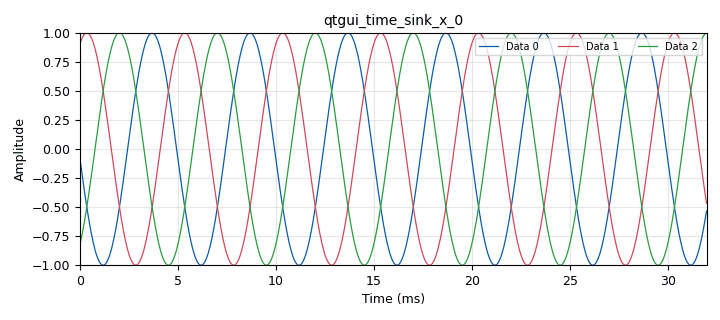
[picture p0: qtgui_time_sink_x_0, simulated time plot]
<?xml version='1.0' encoding='utf-8'?>
<?grc format='1' created='3.7.9'?>
<flow_graph>
<block>
<key>options</key>
<param><key>id</key><value>top_block</value></param>
<param><key>category</key><value>Custom</value></param>
<param><key>generate_options</key><value>qt_gui</value></param>
</block>
<block>
<key>variable_qtgui_range</key>
<param><key>id</key><value>f1</value></param>
<param><key>value</key><value>200</value></param>
<param><key>orient</key><value>Qt.Horizontal</value></param>
<param><key>start</key><value>0</value></param>
<param><key>step</key><value>100</value></param>
<param><key>stop</key><value>10000</value></param>
</block>
<block>
<key>variable</key>
<param><key>id</key><value>samp_rate</value></param>
<param><key>value</key><value>32000</value></param>
</block>
<block>
<key>variable_qtgui_chooser</key>
<param><key>id</key><value>sel1</value></param>
<param><key>value</key><value>0</value></param>
<param><key>label0</key><value>direct</value></param>
<param><key>num_opts</key><value>1</value></param>
<param><key>option0</key><value>0</value></param>
<param><key>type</key><value>int</value></param>
</block>
<block>
<key>analog_sig_source_x</key>
<param><key>id</key><value>analog_sig_source_x_0</value></param>
<param><key>amp</key><value>1</value></param>
<param><key>freq</key><value>f1</value></param>
<param><key>offset</key><value>0</value></param>
<param><key>type</key><value>float</value></param>
<param><key>samp_rate</key><value>samp_rate</value></param>
<param><key>waveform</key><value>analog.GR_COS_WAVE</value></param>
</block>
<block>
<key>analog_sig_source_x</key>
<param><key>id</key><value>analog_sig_source_x_0_0</value></param>
<param><key>amp</key><value>numpy.sin(2*numpy.pi/3)</value></param>
<param><key>freq</key><value>f1</value></param>
<param><key>offset</key><value>0</value></param>
<param><key>type</key><value>float</value></param>
<param><key>samp_rate</key><value>samp_rate</value></param>
<param><key>waveform</key><value>analog.GR_SIN_WAVE</value></param>
</block>
<block>
<key>analog_sig_source_x</key>
<param><key>id</key><value>analog_sig_source_x_0_0_0</value></param>
<param><key>amp</key><value>numpy.cos(2*numpy.pi/3)</value></param>
<param><key>freq</key><value>f1</value></param>
<param><key>offset</key><value>0</value></param>
<param><key>type</key><value>float</value></param>
<param><key>samp_rate</key><value>samp_rate</value></param>
<param><key>waveform</key><value>analog.GR_COS_WAVE</value></param>
</block>
<block>
<key>blocks_add_xx</key>
<param><key>id</key><value>blocks_add_xx_0</value></param>
<param><key>type</key><value>float</value></param>
</block>
<block>
<key>blocks_sub_xx</key>
<param><key>id</key><value>blocks_sub_xx_0</value></param>
<param><key>type</key><value>float</value></param>
</block>
<block>
<key>blocks_throttle</key>
<param><key>id</key><value>blocks_throttle_0_0</value></param>
<param><key>samples_per_second</key><value>samp_rate</value></param>
<param><key>type</key><value>float</value></param>
</block>
<block>
<key>blocks_throttle</key>
<param><key>id</key><value>blocks_throttle_0_0_0</value></param>
<param><key>samples_per_second</key><value>samp_rate</value></param>
<param><key>type</key><value>float</value></param>
</block>
<block>
<key>blocks_throttle</key>
<param><key>id</key><value>blocks_throttle_0_0_1</value></param>
<param><key>samples_per_second</key><value>samp_rate</value></param>
<param><key>type</key><value>float</value></param>
</block>
<block>
<key>import</key>
<param><key>id</key><value>import_0</value></param>
<param><key>import</key><value>import numpy</value></param>
</block>
<block>
<key>qtgui_time_sink_x</key>
<param><key>id</key><value>qtgui_time_sink_x_0</value></param>
<param><key>color1</key><value>"blue"</value></param>
<param><key>label1</key><value></value></param>
<param><key>color2</key><value>"red"</value></param>
<param><key>label2</key><value></value></param>
<param><key>color3</key><value>"green"</value></param>
<param><key>label3</key><value></value></param>
<param><key>nconnections</key><value>3</value></param>
<param><key>size</key><value>1024</value></param>
<param><key>srate</key><value>samp_rate</value></param>
<param><key>tr_delay</key><value>0.25/f1</value></param>
<param><key>type</key><value>float</value></param>
</block>
<connection><source_block_id>analog_sig_source_x_0</source_block_id><sink_block_id>blocks_throttle_0_0_0</sink_block_id><source_key>0</source_key><sink_key>0</sink_key></connection>
<connection><source_block_id>analog_sig_source_x_0_0</source_block_id><sink_block_id>blocks_add_xx_0</sink_block_id><source_key>0</source_key><sink_key>1</sink_key></connection>
<connection><source_block_id>analog_sig_source_x_0_0</source_block_id><sink_block_id>blocks_sub_xx_0</sink_block_id><source_key>0</source_key><sink_key>1</sink_key></connection>
<connection><source_block_id>analog_sig_source_x_0_0_0</source_block_id><sink_block_id>blocks_add_xx_0</sink_block_id><source_key>0</source_key><sink_key>0</sink_key></connection>
<connection><source_block_id>analog_sig_source_x_0_0_0</source_block_id><sink_block_id>blocks_sub_xx_0</sink_block_id><source_key>0</source_key><sink_key>0</sink_key></connection>
<connection><source_block_id>blocks_add_xx_0</source_block_id><sink_block_id>blocks_throttle_0_0_1</sink_block_id><source_key>0</source_key><sink_key>0</sink_key></connection>
<connection><source_block_id>blocks_sub_xx_0</source_block_id><sink_block_id>blocks_throttle_0_0</sink_block_id><source_key>0</source_key><sink_key>0</sink_key></connection>
<connection><source_block_id>blocks_throttle_0_0</source_block_id><sink_block_id>qtgui_time_sink_x_0</sink_block_id><source_key>0</source_key><sink_key>1</sink_key></connection>
<connection><source_block_id>blocks_throttle_0_0_0</source_block_id><sink_block_id>qtgui_time_sink_x_0</sink_block_id><source_key>0</source_key><sink_key>2</sink_key></connection>
<connection><source_block_id>blocks_throttle_0_0_1</source_block_id><sink_block_id>qtgui_time_sink_x_0</sink_block_id><source_key>0</source_key><sink_key>0</sink_key></connection>
</flow_graph>
